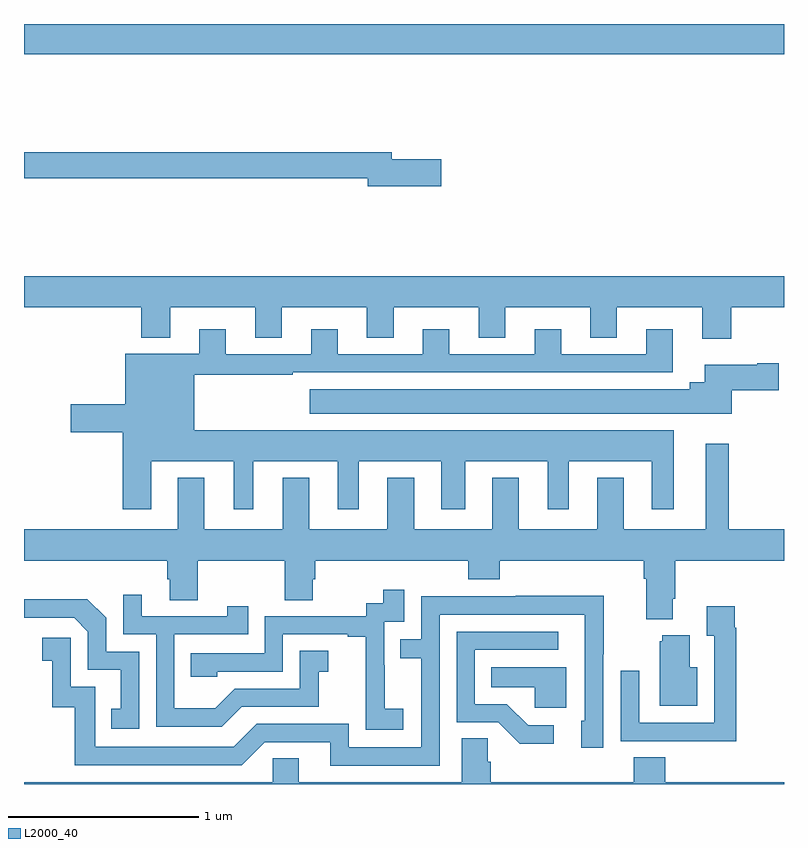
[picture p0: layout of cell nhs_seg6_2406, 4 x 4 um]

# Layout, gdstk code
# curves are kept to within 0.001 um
import gdstk
lib = gdstk.Library(unit=1e-6, precision=1e-09)
def R(c, l, rs):  # rectangles x0, y0, x1, y1
    for r in rs: c.add(gdstk.rectangle(r[:2], r[2:], *l))
def P(c, l, *ps):  # polygons
    for p in ps: c.add(gdstk.Polygon(p, *l))
L2000_40 = (2000, 40)

nhs_seg6_2406 = lib.new_cell('nhs_seg6_2406')
R(nhs_seg6_2406, L2000_40, [(255,943.34,259,943.5)])
P(nhs_seg6_2406, L2000_40, [(257.197,942.788),(256.936,942.788),(256.936,942.824),(255,942.824),(255,942.688),(256.808,942.688),(256.808,942.646),(257.197,942.646)],
  [(258.722,942.008),(259,942.008),(259,942.172),(255,942.172),(255,942.008),(255.617,942.008),(255.617,941.849),(255.769,941.849),(255.769,942.008),(256.217,942.008),(256.217,941.848),(256.357,941.848),(256.357,942.008),(256.805,942.008),(256.805,941.848),(256.945,941.848),(256.945,942.008),(257.393,942.008),(257.393,941.848),(257.533,941.848),(257.533,942.008),(257.981,942.008),(257.981,941.848),(258.121,941.848),(258.121,942.008),(258.569,942.008),(258.569,941.844),(258.722,941.844)],
  [(255.67,941.198),(256.103,941.198),(256.103,940.947),(256.207,940.947),(256.207,941.198),(256.652,941.198),(256.652,940.947),(256.762,940.947),(256.762,941.198),(257.195,941.198),(257.195,940.947),(257.323,940.947),(257.323,941.198),(257.756,941.198),(257.756,940.947),(257.866,940.947),(257.866,941.198),(258.305,941.198),(258.305,940.947),(258.421,940.947),(258.421,941.362),(255.895,941.362),(255.895,941.655),(256.415,941.655),(256.415,941.667),(258.415,941.667),(258.415,941.893),(258.275,941.893),(258.275,941.763),(257.827,941.763),(257.827,941.893),(257.687,941.893),(257.687,941.763),(257.239,941.763),(257.239,941.893),(257.099,941.893),(257.099,941.763),(256.651,941.763),(256.651,941.893),(256.511,941.893),(256.511,941.763),(256.063,941.763),(256.063,941.893),(255.923,941.893),(255.923,941.764),(255.533,941.764),(255.533,941.498),(255.246,941.498),(255.246,941.351),(255.521,941.351),(255.521,940.947),(255.67,940.947)],
  [(258.724,941.573),(258.973,941.573),(258.973,941.715),(258.86,941.715),(258.86,941.707),(258.584,941.707),(258.584,941.614),(258.503,941.614),(258.503,941.578),(256.503,941.578),(256.503,941.45),(258.724,941.45)],
  [(258.415,940.474),(258.428,940.474),(258.428,940.676),(259,940.676),(259,940.84),(258.709,940.84),(258.709,941.29),(258.587,941.29),(258.587,940.84),(258.157,940.84),(258.157,941.113),(258.017,941.113),(258.017,940.84),(257.605,940.84),(257.605,941.113),(257.465,941.113),(257.465,940.84),(257.053,940.84),(257.053,941.113),(256.913,941.113),(256.913,940.84),(256.501,940.84),(256.501,941.113),(256.361,941.113),(256.361,940.84),(255.949,940.84),(255.949,941.113),(255.809,941.113),(255.809,940.84),(255,940.84),(255,940.676),(255.755,940.676),(255.755,940.578),(255.767,940.578),(255.767,940.468),(255.915,940.468),(255.915,940.676),(256.372,940.676),(256.372,940.468),(256.519,940.468),(256.519,940.578),(256.532,940.578),(256.532,940.676),(257.339,940.676),(257.339,940.577),(257.504,940.577),(257.504,940.676),(258.263,940.676),(258.263,940.58),(258.275,940.58),(258.275,940.367),(258.415,940.367)],
  [(256.996,939.895),(256.898,939.895),(256.898,940.124),(256.896,940.124),(256.896,940.353),(257.001,940.353),(257.001,940.522),(256.892,940.522),(256.892,940.452),(256.8,940.452),(256.8,940.383),(256.266,940.383),(256.266,940.188),(255.877,940.188),(255.877,940.065),(256.017,940.065),(256.017,940.092),(256.362,940.092),(256.362,940.287),(256.703,940.287),(256.703,940.275),(256.799,940.275),(256.799,939.991),(256.798,939.991),(256.798,939.785),(256.996,939.785)],
  [(256.147,939.906),(256.551,939.906),(256.551,940.091),(256.6,940.091),(256.6,940.201),(256.452,940.201),(256.452,940.002),(256.11,940.002),(256.006,939.898),(255.792,939.898),(255.792,940.287),(256.181,940.287),(256.181,940.435),(256.07,940.435),(256.07,940.383),(255.619,940.383),(255.619,940.495),(255.522,940.495),(255.522,940.287),(255.696,940.287),(255.696,939.801),(256.042,939.801)],
  [(257.187,940.392),(257.951,940.392),(257.952,939.834),(257.933,939.834),(257.933,939.69),(258.048,939.69),(258.048,940.183),(258.051,940.183),(258.051,940.49),(257.587,940.49),(257.587,940.488),(257.091,940.488),(257.091,940.263),(256.981,940.263),(256.981,940.162),(257.091,940.162),(257.091,939.693),(256.71,939.693),(256.71,939.816),(256.224,939.816),(256.104,939.696),(255.375,939.696),(255.375,940.011),(255.246,940.011),(255.246,940.27),(255.096,940.27),(255.096,940.149),(255.149,940.149),(255.149,939.903),(255.267,939.903),(255.267,939.6),(256.146,939.6),(256.266,939.72),(256.613,939.72),(256.613,939.597),(257.187,939.597)],
  [(255.606,940.197),(255.432,940.197),(255.432,940.374),(255.334,940.472),(255,940.472),(255,940.374),(255.264,940.374),(255.336,940.302),(255.336,940.101),(255.509,940.101),(255.509,939.897),(255.46,939.897),(255.46,939.792),(255.606,939.792)],
  [(258.749,940.322),(258.742,940.322),(258.742,940.435),(258.593,940.435),(258.593,940.279),(258.633,940.279),(258.633,939.822),(258.237,939.822),(258.237,940.096),(258.141,940.096),(258.141,939.726),(258.457,939.726),(258.457,939.725),(258.749,939.725)],
  [(257.788,939.81),(257.653,939.81),(257.542,939.921),(257.373,939.921),(257.373,940.206),(257.812,940.206),(257.812,940.302),(257.277,940.302),(257.277,939.825),(257.496,939.825),(257.609,939.713),(257.788,939.713)],
  [(258.544,940.114),(258.505,940.114),(258.505,940.282),(258.359,940.282),(258.359,940.251),(258.347,940.251),(258.347,939.911),(258.544,939.911)],
  [(257.854,940.114),(257.458,940.114),(257.458,940.01),(257.689,940.01),(257.689,939.902),(257.854,939.902)],
  [(259,939.508),(258.374,939.508),(258.374,939.641),(258.209,939.641),(258.209,939.508),(257.456,939.508),(257.456,939.617),(257.442,939.617),(257.442,939.74),(257.303,939.74),(257.303,939.508),(256.447,939.508),(256.447,939.635),(256.308,939.635),(256.308,939.508),(255,939.508),(255,939.5),(259,939.5)])

lib.write_gds('nhs_seg6_2406.gds')
